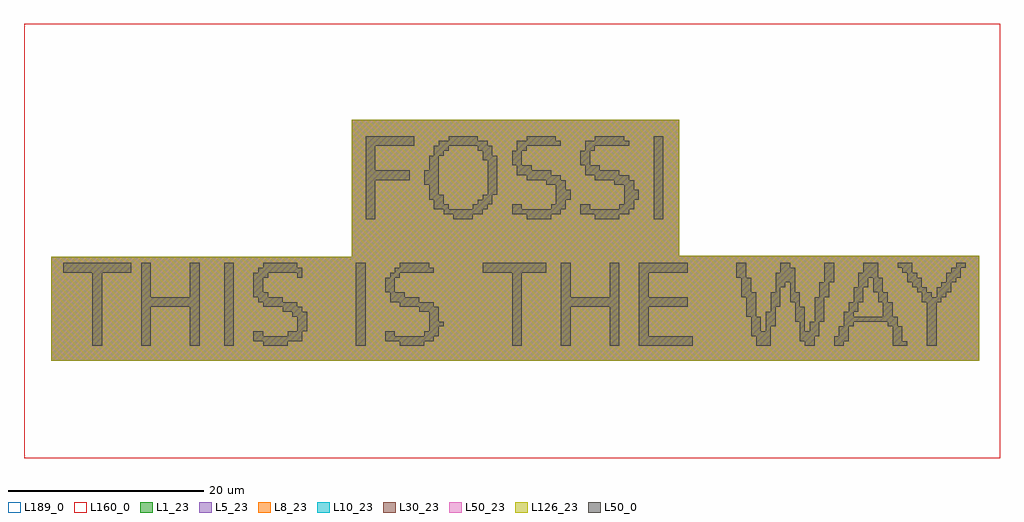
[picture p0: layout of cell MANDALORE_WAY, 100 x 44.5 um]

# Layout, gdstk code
import gdstk
lib = gdstk.Library(unit=1e-6, precision=1e-09)
def R(c, l, rs):  # rectangles x0, y0, x1, y1
    for r in rs: c.add(gdstk.rectangle(r[:2], r[2:], *l))
def P(c, l, *ps):  # polygons
    for p in ps: c.add(gdstk.Polygon(p, *l))
L1_23 = (1, 23)
L5_23 = (5, 23)
L8_23 = (8, 23)
L10_23 = (10, 23)
L30_23 = (30, 23)
L50_0 = (50, 0)
L50_23 = (50, 23)
L126_23 = (126, 23)
L160_0 = (160, 0)
L189_0 = (189, 0)

mandalore_way = lib.new_cell('MANDALORE_WAY')
P(mandalore_way, L1_23, [(2.785,10),(2.785,20.655),(33.605,20.655),(33.605,34.67),(67.13,34.67),(67.13,20.74),(97.87,20.74),(97.87,10)])
P(mandalore_way, L5_23, [(2.785,10),(2.785,20.655),(33.605,20.655),(33.605,34.67),(67.13,34.67),(67.13,20.74),(97.87,20.74),(97.87,10)])
P(mandalore_way, L8_23, [(2.785,10),(2.785,20.655),(33.605,20.655),(33.605,34.67),(67.13,34.67),(67.13,20.74),(97.87,20.74),(97.87,10)])
P(mandalore_way, L10_23, [(2.785,10),(2.785,20.655),(33.605,20.655),(33.605,34.67),(67.13,34.67),(67.13,20.74),(97.87,20.74),(97.87,10)])
P(mandalore_way, L30_23, [(2.785,10),(2.785,20.655),(33.605,20.655),(33.605,34.67),(67.13,34.67),(67.13,20.74),(97.87,20.74),(97.87,10)])
R(mandalore_way, L50_0, [(20.5,11.5,21.5,20), (34,11.5,35,20), (64.5,24.5,65.5,33)])
P(mandalore_way, L50_0, [(7,11.5),(7,19),(4,19),(4,20),(11,20),(11,19),(8,19),(8,11.5)],
  [(12,11.5),(12,20),(13,20),(13,16.5),(17,16.5),(17,20),(18,20),(18,11.5),(17,11.5),(17,15.5),(13,15.5),(13,11.5)],
  [(24.5,11.5),(24.5,12),(23.5,12),(23.5,13),(24.5,13),(24.5,12.5),(27,12.5),(27,13),(28,13),(28,14.5),(27.5,14.5),(27.5,15),(26.5,15),(26.5,15.5),(24.5,15.5),(24.5,16),(24,16),(24,16.5),(23.5,16.5),(23.5,19),(24,19),(24,19.5),(24.5,19.5),(24.5,20),(28,20),(28,19.5),(28.5,19.5),(28.5,18.5),(28,18.5),(28,19),(25,19),(25,18.5),(24.5,18.5),(24.5,17),(25,17),(25,16.5),(26.5,16.5),(26.5,16),(28,16),(28,15.5),(28.5,15.5),(28.5,15),(29,15),(29,13),(28.5,13),(28.5,12),(27,12),(27,11.5)],
  [(38.5,11.5),(38.5,12),(37,12),(37,13),(38,13),(38,12.5),(41,12.5),(41,13),(41.5,13),(41.5,15),(40.5,15),(40.5,15.5),(38.5,15.5),(38.5,16),(37.5,16),(37.5,17),(37,17),(37,18.5),(37.5,18.5),(37.5,19),(38,19),(38,19.5),(38.5,19.5),(38.5,20),(41.5,20),(41.5,19.5),(42,19.5),(42,19),(38.5,19),(38.5,18.5),(38,18.5),(38,17),(39,17),(39,16.5),(40.5,16.5),(40.5,16),(42,16),(42,15.5),(42.5,15.5),(42.5,14),(43,14),(43,13.5),(42.5,13.5),(42.5,12.5),(42,12.5),(42,12),(41,12),(41,11.5)],
  [(50,11.5),(50,19),(47,19),(47,20),(53.5,20),(53.5,19),(51,19),(51,11.5)],
  [(55,11.5),(55,20),(56,20),(56,16.5),(60,16.5),(60,20),(61,20),(61,11.5),(60,11.5),(60,15.5),(56,15.5),(56,11.5)],
  [(63,11.5),(63,20),(68,20),(68,19),(64,19),(64,16.5),(68,16.5),(68,15.5),(64,15.5),(64,12.5),(68.5,12.5),(68.5,11.5)],
  [(75,11.5),(75,12.5),(74.5,12.5),(74.5,14.5),(74,14.5),(74,16.5),(73.5,16.5),(73.5,18.5),(73,18.5),(73,20),(74,20),(74,18.5),(74.5,18.5),(74.5,17),(75,17),(75,14.5),(75.5,14.5),(75.5,13),(76,13),(76,15),(76.5,15),(76.5,17),(77,17),(77,19),(77.5,19),(77.5,20),(78.5,20),(78.5,19.5),(79,19.5),(79,17),(79.5,17),(79.5,15.5),(80,15.5),(80,13),(80.5,13),(80.5,14),(81,14),(81,16.5),(81.5,16.5),(81.5,18),(82,18),(82,20),(83,20),(83,18),(82.5,18),(82.5,16.5),(82,16.5),(82,14),(81.5,14),(81.5,12.5),(81,12.5),(81,11.5),(80,11.5),(80,12),(79.5,12),(79.5,14),(79,14),(79,16),(78.5,16),(78.5,18),(78,18),(78,17.5),(77.5,17.5),(77.5,15.5),(77,15.5),(77,13.5),(76.5,13.5),(76.5,11.5)],
  [(83,11.5),(83,12.5),(83.5,12.5),(83.5,13.5),(84,13.5),(84,15),(84.5,15),(84.5,16),(85,16),(85,17.5),(85.5,17.5),(85.5,18.5),(86.5,18.5),(86.5,17.5),(86,17.5),(86,16),(85.5,16),(85.5,15),(85,15),(85,14.5),(88,14.5),(88,16),(87.5,16),(87.5,17),(87,17),(87,18.5),(85.5,18.5),(85.5,19),(86,19),(86,20),(87.5,20),(87.5,18.5),(88,18.5),(88,17),(88.5,17),(88.5,16),(89,16),(89,14.5),(89.5,14.5),(89.5,13.5),(90,13.5),(90,12),(90.5,12),(90.5,11.5),(89,11.5),(89,13.5),(88.5,13.5),(88.5,14),(85,14),(85,13.5),(84.5,13.5),(84.5,12),(84,12),(84,11.5)],
  [(92.5,11.5),(92.5,16),(92,16),(92,17),(91.5,17),(91.5,17.5),(91,17.5),(91,18),(90.5,18),(90.5,19),(90,19),(90,19.5),(89.5,19.5),(89.5,20),(91,20),(91,19),(91.5,19),(91.5,18.5),(92,18.5),(92,17.5),(92.5,17.5),(92.5,17),(93,17),(93,16.5),(93.5,16.5),(93.5,17.5),(94,17.5),(94,18),(94.5,18),(94.5,19),(95,19),(95,19.5),(95.5,19.5),(95.5,20),(96.5,20),(96.5,19.5),(96,19.5),(96,18.5),(95.5,18.5),(95.5,18),(95,18),(95,17),(94.5,17),(94.5,16.5),(94,16.5),(94,16),(93.5,16),(93.5,11.5)],
  [(35,24.5),(35,33),(40,33),(40,32),(36,32),(36,29.5),(39.5,29.5),(39.5,28.5),(36,28.5),(36,24.5)],
  [(44,24.5),(44,25),(43,25),(43,25.5),(42,25.5),(42,26.5),(41.5,26.5),(41.5,28),(41,28),(41,29.5),(41.5,29.5),(41.5,31),(42,31),(42,32),(43.5,32),(43.5,31.5),(43,31.5),(43,31),(42.5,31),(42.5,27),(43,27),(43,26),(43.5,26),(43.5,25.5),(46,25.5),(46,26),(46.5,26),(46.5,26.5),(47,26.5),(47,27),(47.5,27),(47.5,30.5),(47,30.5),(47,31.5),(46.5,31.5),(46.5,32),(42.5,32),(42.5,32.5),(43.5,32.5),(43.5,33),(46.5,33),(46.5,32.5),(47.5,32.5),(47.5,32),(48,32),(48,31),(48.5,31),(48.5,27),(48,27),(48,26),(47.5,26),(47.5,25.5),(47,25.5),(47,25),(46,25),(46,24.5)],
  [(51.5,24.5),(51.5,25),(50,25),(50,26),(51,26),(51,25.5),(54,25.5),(54,26),(54.5,26),(54.5,28),(53.5,28),(53.5,28.5),(51.5,28.5),(51.5,29),(50.5,29),(50.5,30),(50,30),(50,31.5),(50.5,31.5),(50.5,32.5),(51.5,32.5),(51.5,33),(54.5,33),(54.5,32.5),(55,32.5),(55,32),(51.5,32),(51.5,31.5),(51,31.5),(51,30),(52,30),(52,29.5),(54,29.5),(54,29),(55,29),(55,28.5),(55.5,28.5),(55.5,27.5),(56,27.5),(56,26.5),(55.5,26.5),(55.5,25.5),(55,25.5),(55,25),(54,25),(54,24.5)],
  [(58.5,24.5),(58.5,25),(57,25),(57,26),(58,26),(58,25.5),(61,25.5),(61,26),(61.5,26),(61.5,28),(60.5,28),(60.5,28.5),(58.5,28.5),(58.5,29),(57.5,29),(57.5,30),(57,30),(57,31.5),(57.5,31.5),(57.5,32.5),(58.5,32.5),(58.5,33),(61.5,33),(61.5,32.5),(62,32.5),(62,32),(58.5,32),(58.5,31.5),(58,31.5),(58,30),(59,30),(59,29.5),(61,29.5),(61,29),(62,29),(62,28.5),(62.5,28.5),(62.5,27.5),(63,27.5),(63,26.5),(62.5,26.5),(62.5,25.5),(62,25.5),(62,25),(61,25),(61,24.5)])
P(mandalore_way, L50_23, [(2.785,10),(2.785,20.655),(33.605,20.655),(33.605,34.67),(67.13,34.67),(67.13,20.74),(97.87,20.74),(97.87,10)])
P(mandalore_way, L126_23, [(2.785,10),(2.785,20.655),(33.605,20.655),(33.605,34.67),(67.13,34.67),(67.13,20.74),(97.87,20.74),(97.87,10)])
R(mandalore_way, L160_0, [(0,0,100,44.5)])
R(mandalore_way, L189_0, [(0,0,100,44.5)])

lib.write_gds('MANDALORE_WAY.gds')
